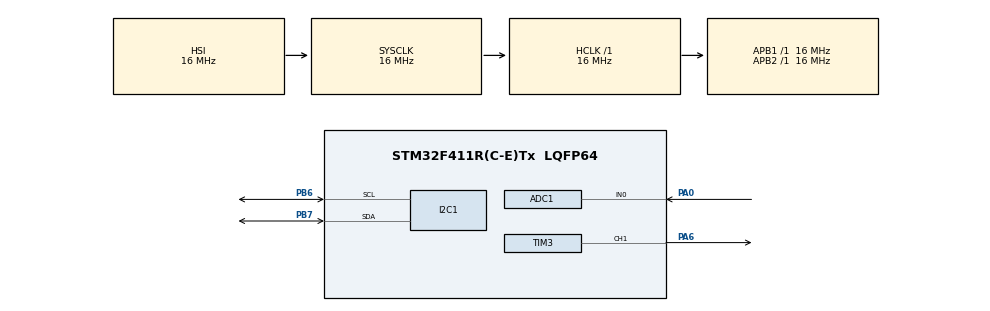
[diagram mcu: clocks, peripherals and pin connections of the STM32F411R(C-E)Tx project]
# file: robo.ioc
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ADC1.Channel-0\#ChannelRegularConversion=ADC_CHANNEL_0
ADC1.NbrOfConversionFlag=1
ADC1.Rank-0\#ChannelRegularConversion=1
ADC1.SamplingTime-0\#ChannelRegularConversion=ADC_SAMPLETIME_3CYCLES
ADC1.master=1
FREERTOS.Tasks01=defaultTask,0,128,StartDefaultTask,Default,NULL,Dynamic,NULL,NULL
Mcu.Family=STM32F4
Mcu.Name=STM32F411R(C-E)Tx
Mcu.Package=LQFP64
NVIC.PriorityGroup=NVIC_PRIORITYGROUP_4
NVIC.TIM5_IRQn=true\:15\:0\:false\:false\:true\:false\:false\:true\:true
NVIC.TimeBase=TIM5_IRQn
NVIC.TimeBaseIP=TIM5
PA0-WKUP.Signal=ADCx_IN0
PA6.Signal=S_TIM3_CH1
PB6.Mode=I2C
PB6.Signal=I2C1_SCL
PB7.Mode=I2C
PB7.Signal=I2C1_SDA
ProjectManager.HeapSize=0x200
ProjectManager.StackSize=0x400
ProjectManager.TargetToolchain=STM32CubeIDE
RCC.AHBFreq_Value=16000000
RCC.APB1Freq_Value=16000000
RCC.APB2Freq_Value=16000000
RCC.CortexFreq_Value=16000000
RCC.HSE_VALUE=25000000
RCC.HSI_VALUE=16000000
RCC.LSE_VALUE=32768
RCC.SYSCLKFreq_VALUE=16000000
RCC.VCOOutputFreq_Value=192000000
SH.ADCx_IN0.0=ADC1_IN0,IN0
SH.S_TIM3_CH1.0=TIM3_CH1,PWM Generation1 CH1
TIM3.Channel-PWM\ Generation1\ CH1=TIM_CHANNEL_1
VP_FREERTOS_VS_CMSIS_V1.Mode=CMSIS_V1
VP_SYS_VS_tim5.Mode=TIM5
VP_TIM3_VS_ClockSourceINT.Mode=Internal
board=custom

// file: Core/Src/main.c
/* USER CODE BEGIN Header */
/**
  ******************************************************************************
  * @file           : main.c
  * @brief          : Standalone FreeRTOS Application for STM32F411RET6
  *                   Controls motor speed/dir with Joystick X-axis, stops motor
  *                   on PIR detection, and updates SSD1306 OLED telemetry.
  *                   Compatible with runtime health metrics scanning.
  ******************************************************************************
  * @attention
  *
  * All custom variables, peripheral initializations, and FreeRTOS tasks are
  * placed inside STM32CubeMX USER CODE blocks. This ensures they are preserved
  * when you regenerate code from the robo.ioc tool.
  *
  * HARDWARE CONNECTIONS:
  *   - Joystick X-Axis: PA0 (ADC1_IN0)
  *   - PIR Motion Sensor: PA1 (GPIO_Input, active High)
  *   - Motor Driver (L298N H-Bridge):
  *       - ENA (Speed Control): PA6 (TIM3_CH1 PWM)
  *       - IN1 (Direction 1): PA2 (GPIO_Output)
  *       - IN2 (Direction 2): PA3 (GPIO_Output)
  *   - SSD1306 OLED Display (I2C):
  *       - SCL: PB6 (I2C1_SCL)
  *       - SDA: PB7 (I2C1_SDA)
  *   - Heartbeat Status LED: PA5 (Nucleo User LED)
  *
  ******************************************************************************
  */
/* USER CODE END Header */
#include "main.h"
#include "cmsis_os.h"

/* USER CODE BEGIN Includes */
#include <stdio.h>
#include <string.h>

/* FreeRTOS Kernel Includes */
#include "FreeRTOS.h"
#include "task.h"
#include "queue.h"
/* USER CODE END Includes */

/* USER CODE BEGIN PTD */
typedef struct {
    int32_t motor_speed;       /* Range: 0 to 100 (%) */
    int8_t motor_direction;    /* 0: Stopped, 1: Forward, -1: Backward */
    uint8_t pir_status;        /* 0: Safe/No Motion, 1: Motion Detected */
    uint32_t timestamp;        /* Tick Count */
} SystemStatus_t;
/* USER CODE END PTD */

/* USER CODE BEGIN PD */
#define JOYSTICK_CENTER   2048
#define JOYSTICK_DEADBAND 150
#define TIM3_PERIOD_ARR   1000
/* USER CODE END PD */

ADC_HandleTypeDef hadc1;

I2C_HandleTypeDef hi2c1;

TIM_HandleTypeDef htim3;

osThreadId defaultTaskHandle;
/* USER CODE BEGIN PV */
/* FreeRTOS Queue Handle */
QueueHandle_t xStatusQueue = NULL;
/* USER CODE END PV */

void SystemClock_Config(void);
static void MX_GPIO_Init(void);
static void MX_ADC1_Init(void);
static void MX_I2C1_Init(void);
static void MX_TIM3_Init(void);
void StartDefaultTask(void const * argument);

/* USER CODE BEGIN PFP */
void vMotorControlTask(void *pvParameters);
void vDisplayTask(void *pvParameters);
void vHeartbeatTask(void *pvParameters);
/* USER CODE END PFP */

/* USER CODE BEGIN 0 */

/* 5x7 ASCII Font Table (Chars 0x20 Space to 0x7E ~) */
const uint8_t SSD1306_Font5x7[][5] = {
    {0x00, 0x00, 0x00, 0x00, 0x00}, // (space)
    {0x00, 0x00, 0x5f, 0x00, 0x00}, // !
    {0x00, 0x07, 0x00, 0x07, 0x00}, // "
    {0x14, 0x7f, 0x14, 0x7f, 0x14}, // #
    {0x24, 0x2a, 0x7f, 0x2a, 0x12}, // $
    {0x23, 0x13, 0x08, 0x64, 0x62}, // %
    {0x36, 0x49, 0x55, 0x22, 0x50}, // &
    {0x00, 0x05, 0x03, 0x00, 0x00}, // '
    {0x00, 0x1c, 0x22, 0x41, 0x00}, // (
    {0x00, 0x41, 0x22, 0x1c, 0x00}, // )
    {0x14, 0x08, 0x3e, 0x08, 0x14}, // *
    {0x08, 0x08, 0x3e, 0x08, 0x08}, // +
    {0x00, 0x50, 0x30, 0x00, 0x00}, // ,
    {0x08, 0x08, 0x08, 0x08, 0x08}, // -
    {0x00, 0x60, 0x60, 0x00, 0x00}, // .
    {0x20, 0x10, 0x08, 0x04, 0x02}, // /
    {0x3e, 0x51, 0x49, 0x45, 0x3e}, // 0
    {0x00, 0x42, 0x7f, 0x40, 0x00}, // 1
    {0x42, 0x61, 0x51, 0x49, 0x46}, // 2
    {0x21, 0x41, 0x45, 0x4b, 0x31}, // 3
    {0x18, 0x14, 0x12, 0x7f, 0x10}, // 4
    {0x27, 0x45, 0x45, 0x45, 0x39}, // 5
    {0x3c, 0x4a, 0x49, 0x49, 0x30}, // 6
    {0x01, 0x71, 0x09, 0x05, 0x03}, // 7
    {0x36, 0x49, 0x49, 0x49, 0x36}, // 8
    {0x06, 0x49, 0x49, 0x29, 0x1e}, // 9
    {0x00, 0x36, 0x36, 0x00, 0x00}, // :
    {0x00, 0x56, 0x36, 0x00, 0x00}, // ;
    {0x08, 0x14, 0x22, 0x41, 0x00}, // <
    {0x14, 0x14, 0x14, 0x14, 0x14}, // =
    {0x00, 0x41, 0x22, 0x14, 0x08}, // >
    {0x02, 0x01, 0x51, 0x09, 0x06}, // ?
    {0x32, 0x49, 0x79, 0x41, 0x3e}, // @
    {0x7e, 0x11, 0x11, 0x11, 0x7e}, // A
    {0x7f, 0x49, 0x49, 0x49, 0x36}, // B
    {0x3e, 0x41, 0x41, 0x41, 0x22}, // C
    {0x7f, 0x41, 0x41, 0x22, 0x1c}, // D
    {0x7f, 0x49, 0x49, 0x49, 0x41}, // E
    {0x7f, 0x09, 0x09, 0x09, 0x01}, // F
    {0x3e, 0x41, 0x49, 0x49, 0x7a}, // G
    {0x7f, 0x08, 0x08, 0x08, 0x7f}, // H
    {0x00, 0x41, 0x7f, 0x41, 0x00}, // I
    {0x20, 0x40, 0x41, 0x3f, 0x01}, // J
    {0x7f, 0x08, 0x14, 0x22, 0x41}, // K
    {0x7f, 0x40, 0x40, 0x40, 0x40}, // L
    {0x7f, 0x02, 0x0c, 0x02, 0x7f}, // M
    {0x7f, 0x04, 0x08, 0x10, 0x7f}, // N
    {0x3e, 0x41, 0x41, 0x41, 0x3e}, // O
    {0x7f, 0x09, 0x09, 0x09, 0x06}, // P
    {0x3e, 0x41, 0x51, 0x21, 0x5e}, // Q
    {0x7f, 0x09, 0x19, 0x29, 0x46}, // R
    {0x46, 0x49, 0x49, 0x49, 0x31}, // S
    {0x01, 0x01, 0x7f, 0x01, 0x01}, // T
    {0x3f, 0x40, 0x40, 0x40, 0x3f}, // U
    {0x1f, 0x20, 0x40, 0x20, 0x1f}, // V
    {0x3f, 0x40, 0x38, 0x40, 0x3f}, // W
    {0x63, 0x14, 0x08, 0x14, 0x63}, // X
    {0x07, 0x08, 0x70, 0x08, 0x07}, // Y
    {0x61, 0x51, 0x49, 0x45, 0x43}, // Z
    {0x00, 0x1c, 0x22, 0x41, 0x00}, // [
    {0x02, 0x04, 0x08, 0x10, 0x20}, // \
    {0x00, 0x41, 0x22, 0x1c, 0x00}, // ]
    {0x04, 0x02, 0x01, 0x02, 0x04}, // ^
    {0x40, 0x40, 0x40, 0x40, 0x40}, // _
    {0x00, 0x01, 0x02, 0x04, 0x00}, // `
    {0x20, 0x54, 0x54, 0x54, 0x78}, // a
    {0x7f, 0x48, 0x44, 0x44, 0x38}, // b
    {0x38, 0x44, 0x44, 0x44, 0x20}, // c
    {0x38, 0x44, 0x44, 0x48, 0x7f}, // d
    {0x38, 0x54, 0x54, 0x54, 0x18}, // e
    {0x08, 0x7e, 0x09, 0x01, 0x02}, // f
    {0x0c, 0x52, 0x52, 0x52, 0x3e}, // g
    {0x7f, 0x08, 0x04, 0x04, 0x78}, // h
    {0x00, 0x44, 0x7d, 0x40, 0x00}, // i
    {0x20, 0x40, 0x44, 0x3d, 0x00}, // j
    {0x7f, 0x10, 0x28, 0x44, 0x00}, // k
    {0x00, 0x41, 0x7f, 0x40, 0x00}, // l
    {0x7c, 0x04, 0x18, 0x04, 0x78}, // m
    {0x7c, 0x08, 0x04, 0x04, 0x78}, // n
    {0x38, 0x44, 0x44, 0x44, 0x38}, // o
    {0x7c, 0x14, 0x14, 0x14, 0x08}, // p
    {0x08, 0x14, 0x14, 0x18, 0x7c}, // q
    {0x7c, 0x08, 0x04, 0x04, 0x08}, // r
    {0x48, 0x54, 0x54, 0x54, 0x20}, // s
    {0x04, 0x3f, 0x44, 0x40, 0x20}, // t
    {0x3c, 0x40, 0x40, 0x20, 0x7c}, // u
    {0x1c, 0x20, 0x40, 0x20, 0x1c}, // v
    {0x3c, 0x40, 0x30, 0x40, 0x3c}, // w
    {0x44, 0x28, 0x10, 0x28, 0x44}, // x
    {0x0c, 0x50, 0x50, 0x50, 0x3c}, // y
    {0x44, 0x64, 0x54, 0x4c, 0x44}, // z
    {0x00, 0x08, 0x36, 0x41, 0x00}, // {
    {0x00, 0x00, 0x7f, 0x00, 0x00}, // |
    {0x00, 0x41, 0x36, 0x08, 0x00}, // }
    {0x08, 0x08, 0x2a, 0x1c, 0x08}, // ~
};

/* SSD1306 OLED Controller Functions */
void SSD1306_WriteCommand(uint8_t cmd) {
    HAL_I2C_Mem_Write(&hi2c1, 0x78, 0x00, I2C_MEMADD_SIZE_8BIT, &cmd, 1, HAL_MAX_DELAY);
}

void SSD1306_WriteData(uint8_t* data, uint16_t size) {
    HAL_I2C_Mem_Write(&hi2c1, 0x78, 0x40, I2C_MEMADD_SIZE_8BIT, data, size, HAL_MAX_DELAY);
}

void SSD1306_Clear(void) {
    uint8_t zero[128] = {0};
    for (uint8_t i = 0; i < 8; i++) {
        SSD1306_WriteCommand(0xB0 + i);
        SSD1306_WriteCommand(0x00);
        SSD1306_WriteCommand(0x10);
        SSD1306_WriteData(zero, 128);
    }
}

void SSD1306_GotoXY(uint8_t x, uint8_t y) {
    SSD1306_WriteCommand(0xB0 + y);
    SSD1306_WriteCommand(x & 0x0F);
    SSD1306_WriteCommand(0x10 | ((x >> 4) & 0x0F));
}

void SSD1306_Putc(char ch) {
    if (ch < 32 || ch > 126) {
        ch = ' ';
    }
    uint8_t idx = ch - 32;
    uint8_t buf[6];
    memcpy(buf, SSD1306_Font5x7[idx], 5);
    buf[5] = 0x00;
    SSD1306_WriteData(buf, 6);
}

void SSD1306_Puts(const char* str) {
    while (*str) {
        SSD1306_Putc(*str++);
    }
}

void SSD1306_Init(void) {
    HAL_Delay(100);
    static const uint8_t SSD1306_InitSeq[] = {
        0xAE, 0xD5, 0x80, 0xA8, 0x3F, 0xD3, 0x00, 0x40,
        0x8D, 0x14, 0x20, 0x00, 0xA1, 0xC8, 0xDA, 0x12,
        0x81, 0xCF, 0xD9, 0xF1, 0xDB, 0x40, 0xA4, 0xA6,
        0xAF
    };
    HAL_I2C_Mem_Write(&hi2c1, 0x78, 0x00, I2C_MEMADD_SIZE_8BIT, (uint8_t*)SSD1306_InitSeq, sizeof(SSD1306_InitSeq), HAL_MAX_DELAY);
    SSD1306_Clear();
}
/* USER CODE END 0 */

int main(void)
{

  /* MCU Configuration--------------------------------------------------------*/

  /* Reset of all peripherals, Initializes the Flash interface and the Systick. */
  HAL_Init();

  /* Configure the system clock */
  SystemClock_Config();

  /* Initialize all configured peripherals */
  MX_GPIO_Init();
  MX_ADC1_Init();
  MX_I2C1_Init();
  MX_TIM3_Init();
  /* USER CODE BEGIN 2 */
  /* Start Timer 3 Base and PWM generation on Channel 1 (Motor ENA) */
  HAL_TIM_Base_Start(&htim3);
  HAL_TIM_PWM_Start(&htim3, TIM_CHANNEL_1);

  /* Initialize SSD1306 OLED Screen */
  SSD1306_Init();
  /* USER CODE END 2 */

  /* USER CODE BEGIN RTOS_QUEUES */
  /* Create status tracking queue */
  xStatusQueue = xQueueCreate(5, sizeof(SystemStatus_t));
  /* USER CODE END RTOS_QUEUES */

  /* Create the thread(s) */
  /* definition and creation of defaultTask */
  osThreadDef(defaultTask, StartDefaultTask, osPriorityNormal, 0, 128);
  defaultTaskHandle = osThreadCreate(osThread(defaultTask), NULL);

  /* USER CODE BEGIN RTOS_THREADS */
  /* Create tasks */
  xTaskCreate(vMotorControlTask, "MotorCtrl", 256, NULL, 3, NULL);
  xTaskCreate(vDisplayTask, "OledDisp", 256, NULL, 2, NULL);
  xTaskCreate(vHeartbeatTask, "Heartbeat", 128, NULL, 1, NULL);
  /* USER CODE END RTOS_THREADS */

  /* Start scheduler */
  osKernelStart();

  /* We should never get here as control is now taken by the scheduler */

  /* Infinite loop */
  while (1)
  {

    /* USER CODE BEGIN 3 */
    /* Fallback blink */
    HAL_GPIO_TogglePin(GPIOA, GPIO_PIN_5);
    HAL_Delay(100);
  }
  /* USER CODE END 3 */
}

void SystemClock_Config(void)
{
  RCC_OscInitTypeDef RCC_OscInitStruct = {0};
  RCC_ClkInitTypeDef RCC_ClkInitStruct = {0};

  /** Configure the main internal regulator output voltage
  */
  __HAL_RCC_PWR_CLK_ENABLE();
  __HAL_PWR_VOLTAGESCALING_CONFIG(PWR_REGULATOR_VOLTAGE_SCALE1);

  /** Initializes the RCC Oscillators according to the specified parameters
  * in the RCC_OscInitTypeDef structure.
  */
  RCC_OscInitStruct.OscillatorType = RCC_OSCILLATORTYPE_HSI;
  RCC_OscInitStruct.HSIState = RCC_HSI_ON;
  RCC_OscInitStruct.HSICalibrationValue = RCC_HSICALIBRATION_DEFAULT;
  RCC_OscInitStruct.PLL.PLLState = RCC_PLL_NONE;
  if (HAL_RCC_OscConfig(&RCC_OscInitStruct) != HAL_OK)
  {
    Error_Handler();
  }

  /** Initializes the CPU, AHB and APB buses clocks
  */
  RCC_ClkInitStruct.ClockType = RCC_CLOCKTYPE_HCLK|RCC_CLOCKTYPE_SYSCLK
                              |RCC_CLOCKTYPE_PCLK1|RCC_CLOCKTYPE_PCLK2;
  RCC_ClkInitStruct.SYSCLKSource = RCC_SYSCLKSOURCE_HSI;
  RCC_ClkInitStruct.AHBCLKDivider = RCC_SYSCLK_DIV1;
  RCC_ClkInitStruct.APB1CLKDivider = RCC_HCLK_DIV1;
  RCC_ClkInitStruct.APB2CLKDivider = RCC_HCLK_DIV1;

  if (HAL_RCC_ClockConfig(&RCC_ClkInitStruct, FLASH_LATENCY_0) != HAL_OK)
  {
    Error_Handler();
  }
}

static void MX_ADC1_Init(void)
{

  ADC_ChannelConfTypeDef sConfig = {0};

  /** Configure the global features of the ADC (Clock, Resolution, Data Alignment and number of conversion)
  */
  hadc1.Instance = ADC1;
  hadc1.Init.ClockPrescaler = ADC_CLOCK_SYNC_PCLK_DIV2;
  hadc1.Init.Resolution = ADC_RESOLUTION_12B;
  hadc1.Init.ScanConvMode = DISABLE;
  hadc1.Init.ContinuousConvMode = DISABLE;
  hadc1.Init.DiscontinuousConvMode = DISABLE;
  hadc1.Init.ExternalTrigConvEdge = ADC_EXTERNALTRIGCONVEDGE_NONE;
  hadc1.Init.ExternalTrigConv = ADC_SOFTWARE_START;
  hadc1.Init.DataAlign = ADC_DATAALIGN_RIGHT;
  hadc1.Init.NbrOfConversion = 1;
  hadc1.Init.DMAContinuousRequests = DISABLE;
  hadc1.Init.EOCSelection = ADC_EOC_SINGLE_CONV;
  if (HAL_ADC_Init(&hadc1) != HAL_OK)
  {
    Error_Handler();
  }

  /** Configure for the selected ADC regular channel its corresponding rank in the sequencer and its sample time.
  */
  sConfig.Channel = ADC_CHANNEL_0;
  sConfig.Rank = 1;
  sConfig.SamplingTime = ADC_SAMPLETIME_3CYCLES;
  if (HAL_ADC_ConfigChannel(&hadc1, &sConfig) != HAL_OK)
  {
    Error_Handler();
  }

}

static void MX_I2C1_Init(void)
{

  hi2c1.Instance = I2C1;
  hi2c1.Init.ClockSpeed = 100000;
  hi2c1.Init.DutyCycle = I2C_DUTYCYCLE_2;
  hi2c1.Init.OwnAddress1 = 0;
  hi2c1.Init.AddressingMode = I2C_ADDRESSINGMODE_7BIT;
  hi2c1.Init.DualAddressMode = I2C_DUALADDRESS_DISABLE;
  hi2c1.Init.OwnAddress2 = 0;
  hi2c1.Init.GeneralCallMode = I2C_GENERALCALL_DISABLE;
  hi2c1.Init.NoStretchMode = I2C_NOSTRETCH_DISABLE;
  if (HAL_I2C_Init(&hi2c1) != HAL_OK)
  {
    Error_Handler();
  }

}

static void MX_TIM3_Init(void)
{

  TIM_ClockConfigTypeDef sClockSourceConfig = {0};
  TIM_MasterConfigTypeDef sMasterConfig = {0};
  TIM_OC_InitTypeDef sConfigOC = {0};

  htim3.Instance = TIM3;
  htim3.Init.Prescaler = 0;
  htim3.Init.CounterMode = TIM_COUNTERMODE_UP;
  htim3.Init.Period = 65535;
  htim3.Init.ClockDivision = TIM_CLOCKDIVISION_DIV1;
  htim3.Init.AutoReloadPreload = TIM_AUTORELOAD_PRELOAD_DISABLE;
  if (HAL_TIM_Base_Init(&htim3) != HAL_OK)
  {
    Error_Handler();
  }
  sClockSourceConfig.ClockSource = TIM_CLOCKSOURCE_INTERNAL;
  if (HAL_TIM_ConfigClockSource(&htim3, &sClockSourceConfig) != HAL_OK)
  {
    Error_Handler();
  }
  if (HAL_TIM_PWM_Init(&htim3) != HAL_OK)
  {
    Error_Handler();
  }
  sMasterConfig.MasterOutputTrigger = TIM_TRGO_RESET;
  sMasterConfig.MasterSlaveMode = TIM_MASTERSLAVEMODE_DISABLE;
  if (HAL_TIMEx_MasterConfigSynchronization(&htim3, &sMasterConfig) != HAL_OK)
  {
    Error_Handler();
  }
  sConfigOC.OCMode = TIM_OCMODE_PWM1;
  sConfigOC.Pulse = 0;
  sConfigOC.OCPolarity = TIM_OCPOLARITY_HIGH;
  sConfigOC.OCFastMode = TIM_OCFAST_DISABLE;
  if (HAL_TIM_PWM_ConfigChannel(&htim3, &sConfigOC, TIM_CHANNEL_1) != HAL_OK)
  {
    Error_Handler();
  }
  HAL_TIM_MspPostInit(&htim3);

}

static void MX_GPIO_Init(void)
{

  /* GPIO Ports Clock Enable */
  __HAL_RCC_GPIOA_CLK_ENABLE();
  __HAL_RCC_GPIOB_CLK_ENABLE();

}

/* USER CODE BEGIN 4 */
/**
  * @brief  vMotorControlTask
  * @details Reads Joystick (PA0 ADC) and PIR (PA1 GPIO). Maps X-axis to L298N speed/direction.
  *          Forces immediate safety stop if PIR sensor detects motion.
  */
void vMotorControlTask(void *pvParameters) {
    const TickType_t xFrequency = pdMS_TO_TICKS(50); /* Run at 20 Hz */
    SystemStatus_t status;

    for (;;) {
        /* 1. Read PIR Sensor */
        uint8_t pir_val = (HAL_GPIO_ReadPin(GPIOA, GPIO_PIN_1) == GPIO_PIN_SET) ? 1 : 0;
        status.pir_status = pir_val;

        /* 2. Read Joystick X-Axis using ADC1 Channel 0 */
        uint32_t adc_val = JOYSTICK_CENTER;
        HAL_ADC_Start(&hadc1);
        if (HAL_ADC_PollForConversion(&hadc1, 10) == HAL_OK) {
            adc_val = HAL_ADC_GetValue(&hadc1);
        }
        HAL_ADC_Stop(&hadc1);

        /* 3. Determine Speed and Direction */
        int32_t speed_pct = 0;
        int8_t dir = 0; /* 0: stopped, 1: forward, -1: backward */

        if (pir_val == 1) {
            /* SAFETY INTERLOCK: Stop motor immediately */
            speed_pct = 0;
            dir = 0;
        } else {
            /* Map ADC Joystick X values to Speed and Direction */
            if (adc_val > (JOYSTICK_CENTER + JOYSTICK_DEADBAND)) {
                /* Forward direction */
                dir = 1;
                uint32_t offset = adc_val - (JOYSTICK_CENTER + JOYSTICK_DEADBAND);
                uint32_t max_range = 4095 - (JOYSTICK_CENTER + JOYSTICK_DEADBAND);
                speed_pct = (offset * 100) / max_range;
                if (speed_pct > 100) speed_pct = 100;
            } else if (adc_val < (JOYSTICK_CENTER - JOYSTICK_DEADBAND)) {
                /* Backward direction */
                dir = -1;
                uint32_t offset = (JOYSTICK_CENTER - JOYSTICK_DEADBAND) - adc_val;
                uint32_t max_range = JOYSTICK_CENTER - JOYSTICK_DEADBAND;
                speed_pct = (offset * 100) / max_range;
                if (speed_pct > 100) speed_pct = 100;
            } else {
                /* Stopped */
                dir = 0;
                speed_pct = 0;
            }
        }

        status.motor_speed = speed_pct;
        status.motor_direction = dir;
        status.timestamp = xTaskGetTickCount();

        /* 4. Drive L298N Direction Pins (IN1 = PA2, IN2 = PA3) */
        if (dir == 1) {
            /* Forward */
            HAL_GPIO_WritePin(GPIOA, GPIO_PIN_2, GPIO_PIN_SET);
            HAL_GPIO_WritePin(GPIOA, GPIO_PIN_3, GPIO_PIN_RESET);
        } else if (dir == -1) {
            /* Backward */
            HAL_GPIO_WritePin(GPIOA, GPIO_PIN_2, GPIO_PIN_RESET);
            HAL_GPIO_WritePin(GPIOA, GPIO_PIN_3, GPIO_PIN_SET);
        } else {
            /* Stopped / Override */
            HAL_GPIO_WritePin(GPIOA, GPIO_PIN_2, GPIO_PIN_RESET);
            HAL_GPIO_WritePin(GPIOA, GPIO_PIN_3, GPIO_PIN_RESET);
        }

        /* Update Duty Cycle on TIM3 CH1 (ENA Speed Control) */
        uint32_t pulse = (speed_pct * (htim3.Instance->ARR)) / 100;
        __HAL_TIM_SET_COMPARE(&htim3, TIM_CHANNEL_1, pulse);

        /* 5. Post telemetry data to display queue */
        xQueueSend(xStatusQueue, &status, 0);

        vTaskDelay(xFrequency);
    }
}

/**
  * @brief  vDisplayTask
  * @details Blocks on status queue. Updates OLED screen with speed and sensor status.
  */
void vDisplayTask(void *pvParameters) {
    SystemStatus_t rxStatus;
    char lineBuffer[22];

    /* Print persistent headers */
    SSD1306_GotoXY(10, 0);
    SSD1306_Puts("SYSTEM MONITOR");
    SSD1306_GotoXY(0, 1);
    SSD1306_Puts("--------------------");

    for (;;) {
        if (xQueueReceive(xStatusQueue, &rxStatus, portMAX_DELAY) == pdTRUE) {
            /* Row 3: Direction */
            SSD1306_GotoXY(0, 3);
            if (rxStatus.motor_direction == 1) {
                sprintf(lineBuffer, "DIR  : FORWARD   ");
            } else if (rxStatus.motor_direction == -1) {
                sprintf(lineBuffer, "DIR  : BACKWARD  ");
            } else {
                if (rxStatus.pir_status == 1) {
                    sprintf(lineBuffer, "DIR  : OVERRIDE  ");
                } else {
                    sprintf(lineBuffer, "DIR  : STOPPED   ");
                }
            }
            SSD1306_Puts(lineBuffer);

            /* Row 4: Speed */
            SSD1306_GotoXY(0, 4);
            sprintf(lineBuffer, "SPEED: %3d %%     ", (int)rxStatus.motor_speed);
            SSD1306_Puts(lineBuffer);

            /* Row 5: PIR alert status */
            SSD1306_GotoXY(0, 6);
            if (rxStatus.pir_status == 1) {
                sprintf(lineBuffer, "PIR  : MOTION DET!");
            } else {
                sprintf(lineBuffer, "PIR  : CLEAR      ");
            }
            SSD1306_Puts(lineBuffer);
        }
    }
}

/**
  * @brief  vHeartbeatTask
  * @details Toggles system LED on PA5.
  */
void vHeartbeatTask(void *pvParameters) {
    for (;;) {
        HAL_GPIO_TogglePin(GPIOA, GPIO_PIN_5);
        vTaskDelay(pdMS_TO_TICKS(500));
    }
}

/* USER CODE END 4 */

void StartDefaultTask(void const * argument)
{
  for(;;)
  {
    osDelay(1);
  }
}

void HAL_TIM_PeriodElapsedCallback(TIM_HandleTypeDef *htim)
{
  if (htim->Instance == TIM5)
  {
    HAL_IncTick();
  }
}

void Error_Handler(void)
{
  __disable_irq();
  while (1)
  {
  }
}
